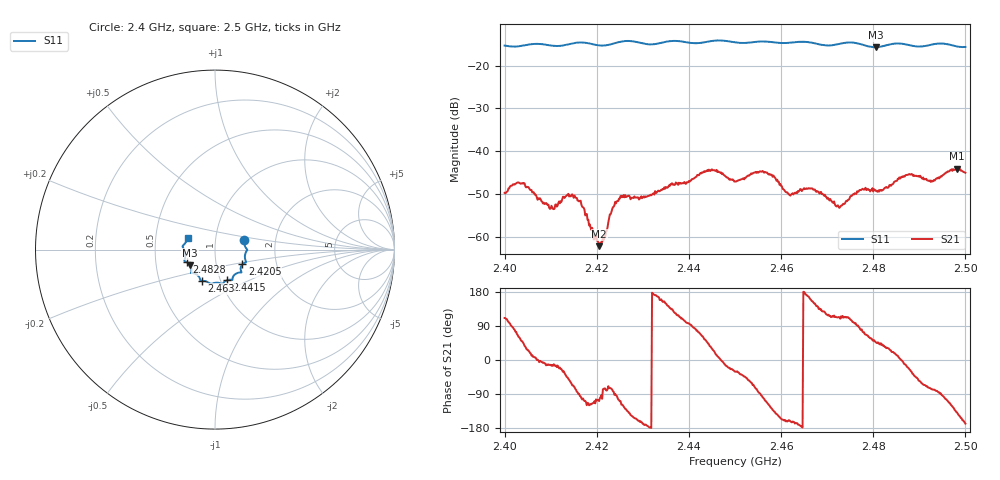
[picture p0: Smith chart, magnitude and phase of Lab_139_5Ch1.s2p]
# Hz S RI R 50
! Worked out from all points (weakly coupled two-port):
!   601 points, 2.4 GHz to 2.5 GHz, reference 50 ohm
!   highest |S21| = -44.12 dB at 2.4982 GHz (marker M1); lowest = -62.2 dB at 2.4205 GHz (marker M2)
!   lowest |S11| = -15.7 dB at 2.4805 GHz (marker M3), VSWR 1.39, Z = 37.3 - j6.68 ohm
!   |S11| at or under -10 dB: start of sweep to end of sweep
!   S12 and S22 are empty: the file has one direction only
!   S11 on the Smith chart (normalised r, x): 2.4 GHz: 1.38, +0.15; 2.4205 GHz: 1.34, -0.23; 2.4415 GHz: 1.07, -0.38; 2.463 GHz: 0.82, -0.29; 2.4828 GHz: 0.72, -0.10; 2.5 GHz: 0.73, +0.10
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2.4e9  0.1638 0.0517  -0.00115 0.00303  0 0  0 0
2.403833e9  0.171 0.0113  0.00274 0.0032  0 0  0 0
2.410167e9  0.1708 -0.0173  0.00221 -0.000597  0 0  0 0
2.413667e9  0.1685 -0.0547  0.00214 -0.00223  0 0  0 0
2.416667e9  0.1732 -0.07  -0.000435 -0.00232  0 0  0 0
2.4205e9  0.1522 -0.0818  -0.000244 -0.000733  0 0  0 0
2.425333e9  0.1465 -0.1233  -0.00135 -0.00256  0 0  0 0
2.433333e9  0.1004 -0.1515  -0.00336 0.000788  0 0  0 0
2.4415e9  0.0658 -0.1709  0.000766 0.00492  0 0  0 0
2.4455e9  0.0419 -0.1915  0.00554 0.0023  0 0  0 0
2.45e9  0.0241 -0.186  0.00379 -0.00226  0 0  0 0
2.4565e9  -0.0234 -0.1904  -0.00164 -0.00546  0 0  0 0
2.463e9  -0.0723 -0.1736  -0.00318 -0.00069  0 0  0 0
2.466667e9  -0.082 -0.1667  -0.00332 0.00152  0 0  0 0
2.472333e9  -0.1214 -0.131  -0.000893 0.00214  0 0  0 0
2.4805e9  -0.1391 -0.0872  0.00235 0.00258  0 0  0 0
2.482833e9  -0.1586 -0.0698  0.00326 0.00198  0 0  0 0
2.483333e9  -0.1624 -0.0679  0.00325 0.00191  0 0  0 0
2.4875e9  -0.1677 -0.0514  0.00496 -0.00179  0 0  0 0
2.4925e9  -0.1755 0.00579  0.00109 -0.00423  0 0  0 0
2.498167e9  -0.163 0.0407  -0.00464 -0.00415  0 0  0 0
2.5e9  -0.1526 0.0647  -0.00545 -0.00118  0 0  0 0
